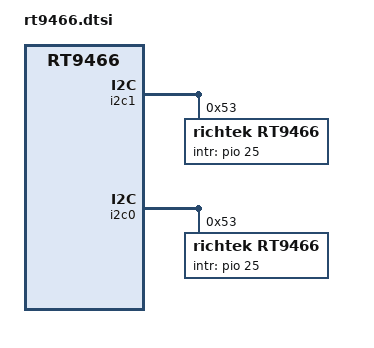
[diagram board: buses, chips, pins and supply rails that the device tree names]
/*
 * Copyright (C) 2015 MediaTek Inc.
 *
 * This program is free software; you can redistribute it and/or modify
 * it under the terms of the GNU General Public License version 2 as
 * published by the Free Software Foundation.
 *
 * This program is distributed in the hope that it will be useful,
 * but WITHOUT ANY WARRANTY; without even the implied warranty of
 * MERCHANTABILITY or FITNESS FOR A PARTICULAR PURPOSE. See the
 * GNU General Public License for more details.
 */

/* Please set primary/secondary charger to corresponding I2C bus */
&i2c1 {
	rt9466@53 {
		compatible = "richtek,rt9466";
		reg = <0x53>;
		/* rt,ceb_gpio_num = <160>; */
		rt,intr_gpio = <&pio 25 0x0>;
		rt,intr_gpio_num = <25>; /* direct defined GPIO num */
		interrupt-names = "wdtmri", "chg_mivr", "chg_aiclmeasi",
			"chg_statci";
		status = "okay";
		/*
		 * Charger name
		 * Main charger: primary_chg
		 * Slave charger: secondary_chg
		 */
		charger_name = "primary_chg";
		ichg = <2000000>; /* uA */
		aicr = <500000>;  /* uA */
		mivr = <4400000>; /* uV */
		cv = <4350000>;   /* uV */
		ieoc = <250000>;  /* uA */
		safety_timer = <12>;  /* hour */
		ircmp_resistor = <80000>; /* uohm */
		ircmp_vclamp = <96000>;  /* uV */
		en_te;
		en_wdt;
		/* en_jeita; */
		/* en_irq_pulse; */
		/* ceb_invert; */
	};
};

&i2c0 {
	rt9466@53 {
		compatible = "richtek,rt9466";
		reg = <0x53>;
		rt,ceb_gpio_num = <160>;
		rt,intr_gpio_num = <25>; /* direct defined GPIO num */
		rt,intr_gpio = <&pio 25 0x0>;
		status = "okay";
		/*
		 * Charger name
		 * Main charger: primary_chg
		 * Slave charger: secondary_chg
		 */
		charger_name = "secondary_chg";
		ichg = <2000000>; /* uA */
		aicr = <500000>;  /* uA */
		mivr = <4400000>; /* uV */
		cv = <4350000>;   /* uV */
		ieoc = <250000>;  /* uA */
		safety_timer = <12>;  /* hour */
		ircmp_resistor = <80000>; /* uohm */
		ircmp_vclamp = <96000>;  /* uV */
		en_te;
		/* en_wdt; */
		/* en_jeita; */
		/* en_irq_pulse; */
		ceb_invert;
	};
};
